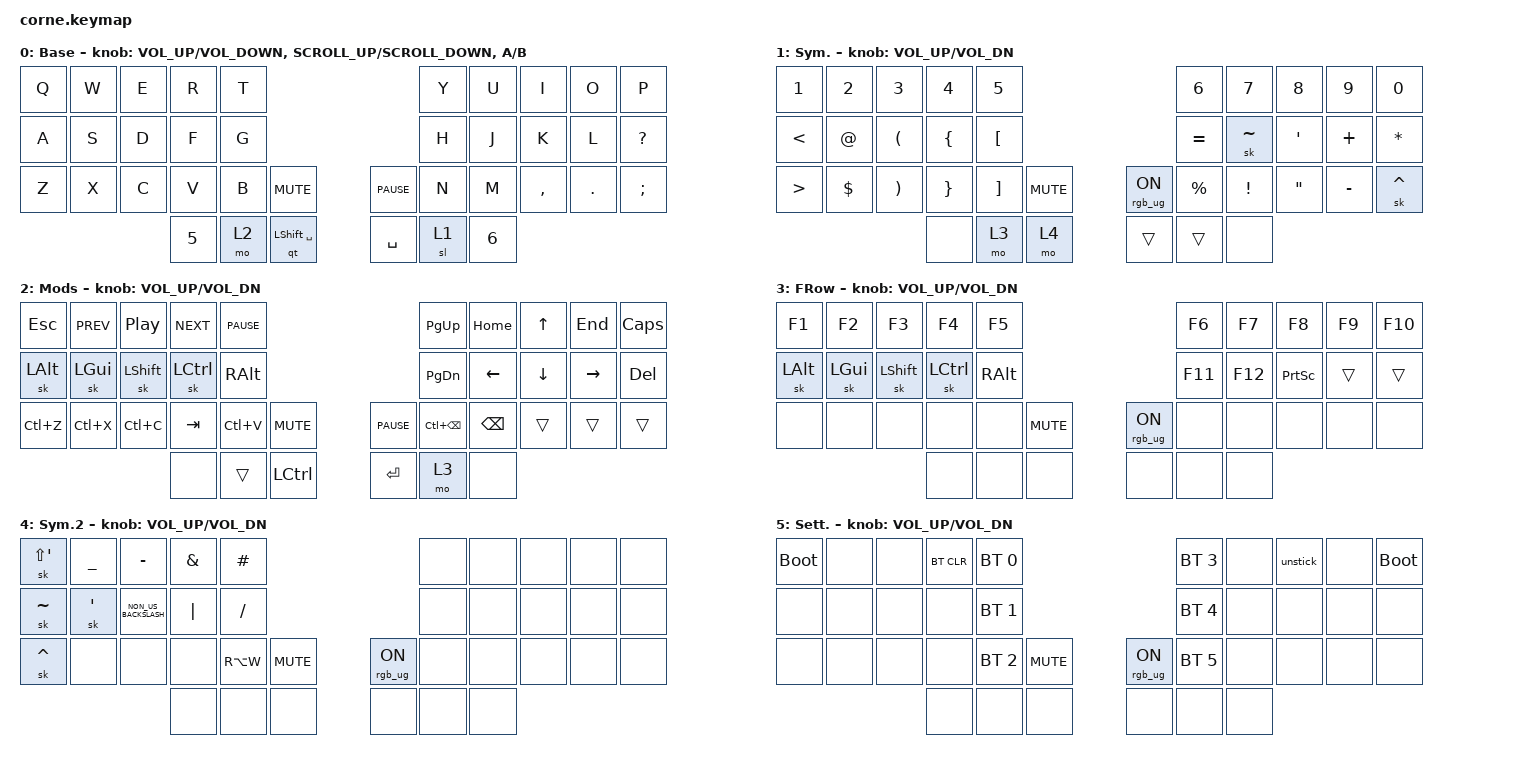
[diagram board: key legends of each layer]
// #include "../../../corne.keymap"

/*
 * Copyright (c) 2020 The ZMK Contributors
 *
 * SPDX-License-Identifier: MIT
 */

#include <behaviors.dtsi>
#include <dt-bindings/zmk/keys.h>
#include <dt-bindings/zmk/bt.h>

/ {
         keymap {
        compatible = "zmk,keymap";

        // Base alpha layer

        default_layer {
            label = "Base";
            bindings = <
&kp Q  &kp W  &kp E  &kp R         &kp T                                   &kp Y  &kp U         &kp I      &kp O    &kp P
&kp A  &kp S  &kp D  &kp F         &kp G                                   &kp H  &kp J         &kp K      &kp L    &kp QMARK
&kp Z  &kp X  &kp C  &kp V         &kp B  &kp C_MUTE          &kp C_PAUSE  &kp N  &kp M         &kp COMMA  &kp DOT  &kp SEMICOLON
                     &kp NUMBER_5  &mo 2  &qt LSHIFT SPACE    &kp SPACE    &sl 1  &kp NUMBER_6
            >;

            sensor-bindings =
                <&inc_dec_kp C_VOLUME_UP C_VOLUME_DOWN>,
                <&inc_dec_kp K_SCROLL_UP K_SCROLL_DOWN>,
                <&inc_dec_kp A B>;
        };

        // Numbers and high frequency symbols

        sym_layer {
            label = "Sym.";
            bindings = <
&kp N1            &kp N2       &kp N3                 &kp NUMBER_4     &kp N5                                           &kp NUMBER_6  &kp N7           &kp N8             &kp N9     &kp N0
&kp LESS_THAN     &kp AT_SIGN  &kp LEFT_PARENTHESIS   &kp LEFT_BRACE   &kp LEFT_BRACKET                                 &kp EQUAL     &sk TILDE        &kp SINGLE_QUOTE   &kp PLUS   &kp ASTERISK
&kp GREATER_THAN  &kp DOLLAR   &kp RIGHT_PARENTHESIS  &kp RIGHT_BRACE  &kp RIGHT_BRACKET  &kp C_MUTE    &rgb_ug RGB_ON  &kp PERCENT   &kp EXCLAMATION  &kp DOUBLE_QUOTES  &kp MINUS  &sk CARET
                                                      &none            &mo 3              &mo 4         &trans          &trans        &none
            >;

            sensor-bindings = <&inc_dec_kp C_VOL_UP C_VOL_DN>;
        };

        // Main modifiers and arrow keys

        ext_layer {
            label = "Mods";
            bindings = <
&kp ESC    &kp C_PREV  &kp C_PP    &kp C_NEXT  &kp C_PAUSE                             &kp PG_UP     &kp HOME  &kp UP    &kp END    &kp CAPS
&sk LALT   &sk LGUI    &sk LSHIFT  &sk LCTRL   &kp RALT                                &kp PG_DN     &kp LEFT  &kp DOWN  &kp RIGHT  &kp DEL
&kp LC(Z)  &kp LC(X)   &kp LC(C)   &kp TAB     &kp LC(V)    &kp C_MUTE    &kp C_PAUSE  &kp LC(BSPC)  &kp BSPC  &trans    &trans     &trans
                                   &none       &trans       &kp LCTRL     &kp ENTER    &mo 3         &none
            >;

            sensor-bindings = <&inc_dec_kp C_VOL_UP C_VOL_DN>;
        };

        // Function keys with modifiers

        fnc_layer {
            label = "FRow";
            bindings = <
&kp F1    &kp F2    &kp F3      &kp F4     &kp F5                                  &kp F6   &kp F7   &kp F8           &kp F9  &kp F10
&sk LALT  &sk LGUI  &sk LSHIFT  &sk LCTRL  &kp RALT                                &kp F11  &kp F12  &kp PRINTSCREEN  &trans  &trans
&none     &none     &none       &none      &none     &kp C_MUTE    &rgb_ug RGB_ON  &none    &none    &none            &none   &none
                                &none      &none     &none         &none           &none    &none
            >;

            sensor-bindings = <&inc_dec_kp C_VOL_UP C_VOL_DN>;
        };

        // Low frequency symbols

        symbols_2_layer {
            label = "Sym.2";
            bindings = <
&sk LS(SINGLE_QUOTE)  &kp UNDERSCORE    &kp MINUS             &kp AMPERSAND  &kp POUND                                &none  &none  &none  &none  &none
&sk TILDE             &sk SINGLE_QUOTE  &kp NON_US_BACKSLASH  &kp PIPE       &kp SLASH                                &none  &none  &none  &none  &none
&sk CARET             &none             &none                 &none          &kp RA(W)  &kp C_MUTE    &rgb_ug RGB_ON  &none  &none  &none  &none  &none
                                                              &none          &none      &none         &none           &none  &none
            >;

            sensor-bindings = <&inc_dec_kp C_VOL_UP C_VOL_DN>;
        };

        // Used to type regional accents
        // Used to change the keyboard's settings

        settings_layer {
            label = "Sett.";
            bindings = <
&bootloader  &none  &none  &bt BT_CLR  &bt BT_SEL 0                                &bt BT_SEL 3  &none  &unstick  &none  &bootloader
&none        &none  &none  &none       &bt BT_SEL 1                                &bt BT_SEL 4  &none  &none     &none  &none
&none        &none  &none  &none       &bt BT_SEL 2  &kp C_MUTE    &rgb_ug RGB_ON  &bt BT_SEL 5  &none  &none     &none  &none
                           &none       &none         &none         &none           &none         &none
            >;

            sensor-bindings = <&inc_dec_kp C_VOL_UP C_VOL_DN>;
        };
    };
};
